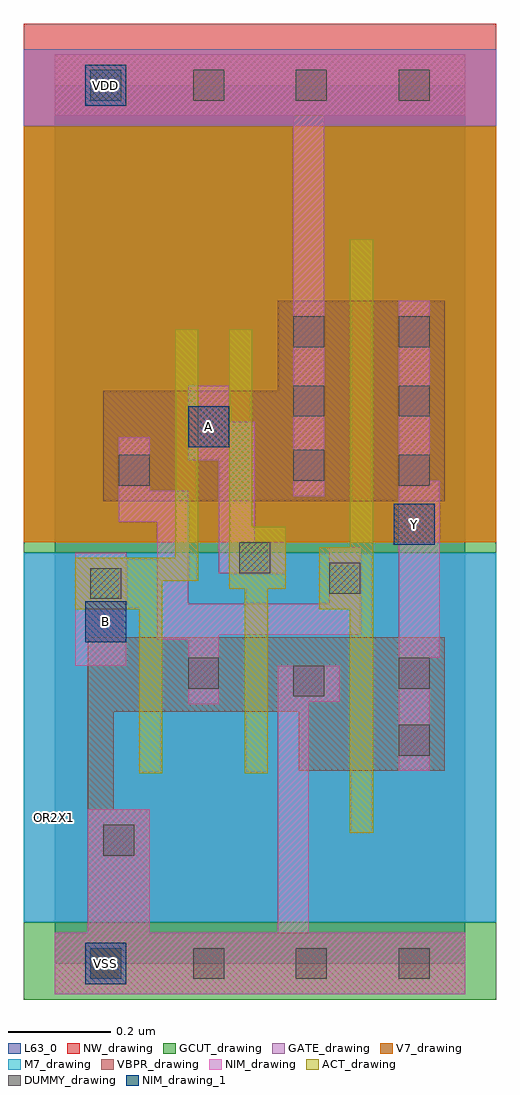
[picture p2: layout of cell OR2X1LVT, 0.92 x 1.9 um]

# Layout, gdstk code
import gdstk
lib = gdstk.Library(unit=1e-6, precision=5e-10)
def R(c, l, rs):  # rectangles x0, y0, x1, y1
    for r in rs: c.add(gdstk.rectangle(r[:2], r[2:], *l))
def A(c, l, x, y, w, h, nx, ny, dx, dy):  # array of equal rectangles
    R(c, l, [(x+i*dx, y+j*dy, x+i*dx+w, y+j*dy+h) for i in range(nx) for j in range(ny)])
def P(c, l, *ps):  # polygons
    for p in ps: c.add(gdstk.Polygon(p, *l))
VBPR_drawing = (1, 0)
NW_drawing = (2, 0)
ACT_drawing = (3, 0)
GATE_drawing = (4, 0)
GCUT_drawing = (5, 0)
DUMMY_drawing = (6, 0)
NIM_drawing = (7, 0)
NIM_drawing_1 = (7, 1)
M7_drawing = (26, 0)
V7_drawing = (27, 0)
L63_0 = (63, 0)

or2x1lvt = lib.new_cell('OR2X1LVT')
R(or2x1lvt, VBPR_drawing, [(0,-0.06,0.8,0.06), (0,1.65,0.8,1.77)])
P(or2x1lvt, VBPR_drawing, [(0.76,0.635),(0.065,0.635),(0.065,0.06),(0.185,0.06),(0.185,0.3),(0.115,0.3),(0.115,0.49),(0.475,0.49),(0.475,0.375),(0.76,0.375)],
  [(0.76,1.29),(0.435,1.29),(0.435,1.115),(0.095,1.115),(0.095,0.9),(0.76,0.9)])
R(or2x1lvt, NW_drawing, [(-0.06,0.82,0.86,1.83)])
P(or2x1lvt, ACT_drawing, [(0.45,0.85),(0.385,0.85),(0.385,1.235),(0.34,1.235),(0.34,0.73),(0.37,0.73),(0.37,0.37),(0.415,0.37),(0.415,0.73),(0.45,0.73)],
  [(0.28,1.235),(0.235,1.235),(0.235,0.79),(0.04,0.79),(0.04,0.69),(0.165,0.69),(0.165,0.37),(0.21,0.37),(0.21,0.745),(0.28,0.745)],
  [(0.62,1.41),(0.575,1.41),(0.575,0.81),(0.515,0.81),(0.515,0.69),(0.575,0.69),(0.575,0.255),(0.62,0.255)])
R(or2x1lvt, GATE_drawing, [(-0.06,0.08,0.86,0.8), (-0.06,1.63,0.86,1.78)])
R(or2x1lvt, GCUT_drawing, [(-0.06,-0.07,0.86,0.08), (-0.06,0.8,0.86,1.63)])
A(or2x1lvt, DUMMY_drawing, 0.07, -0.03, 0.06, 0.06, 4, 2, 0.2, 1.71)
A(or2x1lvt, DUMMY_drawing, 0.67, 0.93, 0.06, 0.06, 1, 3, 0, 0.135)
R(or2x1lvt, DUMMY_drawing, [(0.095,0.21,0.155,0.27), (0.67,0.405,0.73,0.465), (0.465,0.52,0.525,0.58), (0.26,0.535,0.32,0.595), (0.67,0.535,0.73,0.595), (0.07,0.71,0.13,0.77), (0.535,0.72,0.595,0.78), (0.36,0.76,0.42,0.82), (0.125,0.93,0.185,0.99), (0.465,0.94,0.525,1), (0.465,1.065,0.525,1.125), (0.465,1.2,0.525,1.26)])
R(or2x1lvt, NIM_drawing, [(0.065,0.06,0.185,0.3), (0.04,0.58,0.14,0.8), (0.465,0.91,0.525,1.65)])
P(or2x1lvt, NIM_drawing, [(0.75,0.94),(0.73,0.94),(0.73,1.29),(0.67,1.29),(0.67,0.375),(0.73,0.375),(0.73,0.595),(0.75,0.595)],
  [(0.555,0.58),(0.435,0.58),(0.435,0.06),(0.495,0.06),(0.495,0.51),(0.555,0.51)],
  [(0.595,0.81),(0.535,0.81),(0.535,0.7),(0.26,0.7),(0.26,0.92),(0.185,0.92),(0.185,1.025),(0.125,1.025),(0.125,0.86),(0.2,0.86),(0.2,0.63),(0.26,0.63),(0.26,0.505),(0.32,0.505),(0.32,0.64),(0.595,0.64)],
  [(0.45,0.82),(0.39,0.82),(0.39,1.055),(0.34,1.055),(0.34,1.125),(0.26,1.125),(0.26,0.98),(0.32,0.98),(0.32,0.76),(0.45,0.76)])
R(or2x1lvt, NIM_drawing_1, [(0.06,-0.04,0.14,0.04), (0.06,0.625,0.14,0.705), (0.66,0.815,0.74,0.895), (0.26,1.005,0.34,1.085), (0.06,1.67,0.14,1.75)])
R(or2x1lvt, M7_drawing, [(-0.06,0.08,0.86,0.8)])
R(or2x1lvt, V7_drawing, [(-0.06,0.82,0.86,1.63)])
R(or2x1lvt, L63_0, [(0,0,0.8,1.71)])
or2x1lvt.add(gdstk.FlexPath([(0,0),(0.8,0)], 0.12, ends="flush", simple_path=True, layer=7, datatype=0))  # NIM_drawing
or2x1lvt.add(gdstk.FlexPath([(0,1.71),(0.8,1.71)], 0.12, ends="flush", simple_path=True, layer=7, datatype=0))  # NIM_drawing
or2x1lvt.add(gdstk.Label('VSS', (0.1,0), layer=7, texttype=1))
or2x1lvt.add(gdstk.Label('Y', (0.7,0.855), layer=7, texttype=1))
or2x1lvt.add(gdstk.Label('A', (0.3,1.045), layer=7, texttype=1))
or2x1lvt.add(gdstk.Label('B', (0.1,0.665), layer=7, texttype=1))
or2x1lvt.add(gdstk.Label('VDD', (0.1,1.71), layer=7, texttype=1))
or2x1lvt.add(gdstk.Label('VSS', (0.1,0), layer=7, texttype=1))
or2x1lvt.add(gdstk.Label('VDD', (0.1,1.71), layer=7, texttype=1))
or2x1lvt.add(gdstk.Label('B', (0.1,0.665), layer=7, texttype=1))
or2x1lvt.add(gdstk.Label('A', (0.3,1.045), layer=7, texttype=1))
or2x1lvt.add(gdstk.Label('Y', (0.7,0.855), layer=7, texttype=1))
or2x1lvt.add(gdstk.Label('OR2X1', (0,0.285), layer=63, texttype=0))

lib.write_gds('OR2X1LVT.gds')
